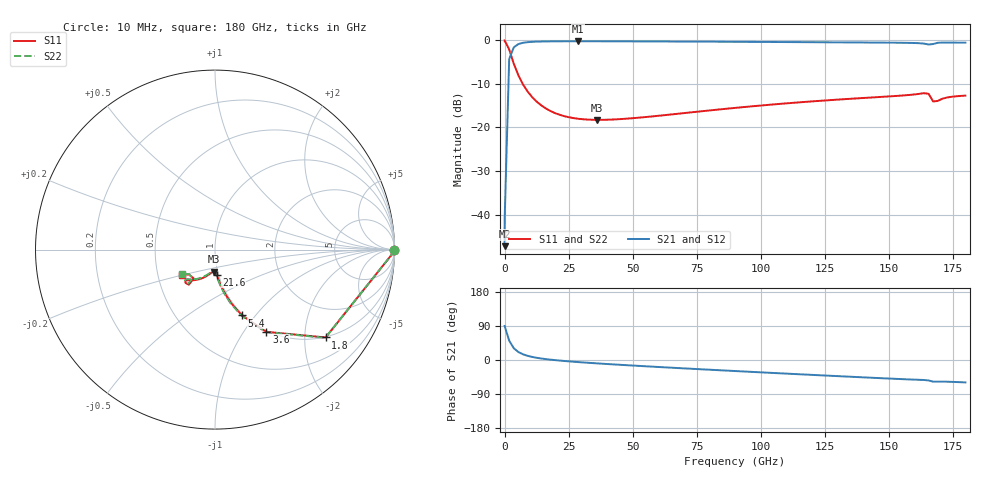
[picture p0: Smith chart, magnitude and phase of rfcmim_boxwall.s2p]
#  GHZ S DB R 50
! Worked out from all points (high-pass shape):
!   102 points, 10 MHz to 180 GHz, reference 50 ohm
!   highest |S21| = -0.19 dB at 28.8 GHz (marker M1); lowest = -47.3 dB at 10 MHz (marker M2)
!   |S21| within 3 dB of the highest: 2.523 GHz to end of sweep
!   lowest |S11| = -18.2 dB at 36 GHz (marker M3), VSWR 1.28, Z = 48.1 - j11.9 ohm
!   |S11| at or under -10 dB: 7.108 GHz to end of sweep
!   |S22| runs from -18.4 to 0.0 dB; largest |S21 - S12| = 2.5e-13
!   S11 on the Smith chart (normalised r, x): 10 MHz: open; 1.8 GHz: 0.98, -2.53; 3.6 GHz: 0.98, -1.27; 5.4 GHz: 0.98, -0.86; 21.6 GHz: 0.98, -0.28; 180 GHz: 0.67, -0.20
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0.01  -0.00 -0.3  -47.28 89.7  -47.28 89.7  -0.00 -0.3
0.02  -0.00 -0.5  -41.26 89.5  -41.26 89.5  -0.00 -0.5
1.8  -2.08 -38.5  -4.27 51.1  -4.27 51.1  -2.08 -38.7
3.6  -5.35 -58.0  -1.57 31.1  -1.57 31.1  -5.36 -58.4
5.4  -8.03 -67.7  -0.83 20.9  -0.83 20.9  -8.05 -68.2
7.2  -10.11 -73.1  -0.53 15.0  -0.53 15.0  -10.13 -73.8
9  -11.73 -76.6  -0.39 11.0  -0.39 11.0  -11.76 -77.4
12.6  -14.09 -80.9  -0.27 5.8  -0.27 5.8  -14.13 -81.9
16.2  -15.66 -83.5  -0.22 2.3  -0.22 2.3  -15.71 -84.7
21.6  -17.10 -86.3  -0.19 -1.5  -0.19 -1.5  -17.17 -87.6
28.8  -18.00 -89.3  -0.19 -5.5  -0.19 -5.5  -18.09 -90.7
30.6  -18.11 -90.0  -0.19 -6.4  -0.19 -6.4  -18.20 -91.5
36  -18.25 -92.1  -0.19 -8.8  -0.19 -8.8  -18.35 -93.6
61.2  -17.24 -101.6  -0.23 -18.8  -0.23 -18.8  -17.37 -103.0
91.8  -15.40 -112.6  -0.31 -29.7  -0.31 -29.7  -15.54 -113.8
120.6  -13.98 -122.3  -0.40 -39.4  -0.40 -39.4  -14.12 -123.3
151.2  -12.82 -131.7  -0.51 -49.3  -0.51 -49.3  -12.96 -132.7
162  -12.27 -132.9  -0.63 -52.3  -0.63 -52.3  -12.41 -134.0
165.6  -12.25 -126.7  -0.92 -53.9  -0.92 -53.9  -12.33 -128.1
167.4  -14.02 -126.8  -0.82 -57.2  -0.82 -57.2  -13.99 -127.6
171  -13.39 -139.4  -0.49 -57.1  -0.49 -57.1  -13.50 -139.8
180  -12.68 -142.3  -0.51 -59.1  -0.51 -59.1  -12.82 -142.9
